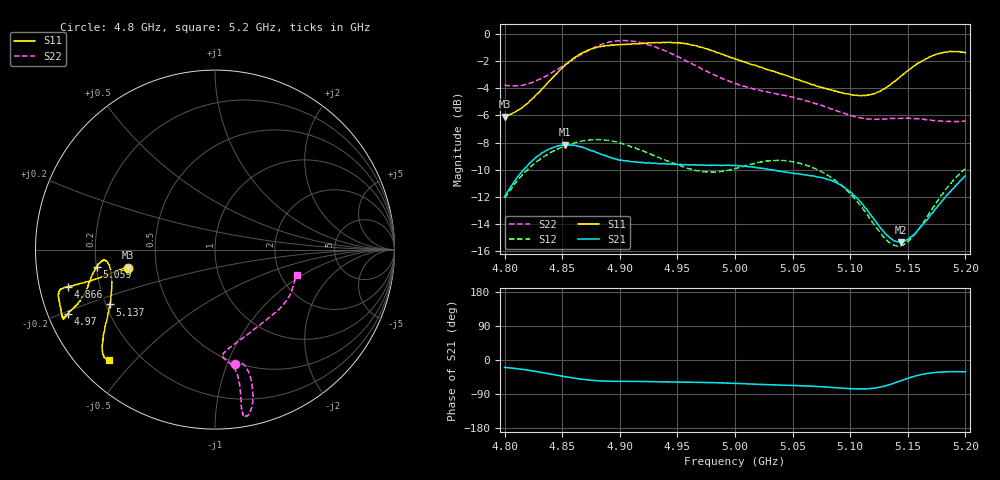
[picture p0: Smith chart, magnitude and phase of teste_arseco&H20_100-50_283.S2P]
! Network Analyzer HP8722D
! Hewlett-Packard
! Data name: Linha & Wilkinson
! Saver's name: Rodrigo Anjos
! Comments: Teste da utilização de aquisição
! continua pelo VNA HP8722D
! Time and date: 6/5/2025 14:55
!  Frequency  S11  S21  S12  S22
# HZ  S  MA R 50
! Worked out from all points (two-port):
!   401 points, 4.8 GHz to 5.2 GHz, reference 50 ohm
!   highest |S21| = -8.17 dB at 4.852 GHz (marker M1); lowest = -15.3 dB at 5.144 GHz (marker M2)
!   |S21| within 3 dB of the highest: 4.806 GHz to 5.093 GHz (286.6 MHz wide, 5.79 % of centre); 5.19168 GHz to end of sweep
!   lowest |S11| = -6.1 dB at 4.8 GHz (marker M3), VSWR 2.97, Z = 17 - j4.58 ohm
!   |S11| at or under -10 dB: nowhere
!   |S22| runs from -6.5 to -0.5 dB; largest |S21 - S12| = 0.62
!   S11 on the Smith chart (normalised r, x): 4.8 GHz: 0.34, -0.09; 4.866 GHz: 0.09, -0.12; 4.97 GHz: 0.06, -0.21; 5.059 GHz: 0.20, -0.07; 5.137 GHz: 0.22, -0.23; 5.2 GHz: 0.09, -0.42
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4.8e9  0.4965 -168.2  0.2517 -19.6  0.2487 -140.8  0.6485 -80.3
4.823e9  0.5704 -167.5  0.338 -28.0  0.3252 -143.7  0.6599 -76.0
4.852e9  0.7635 -165.9  0.3906 -43.9  0.3864 -149.4  0.7689 -74.6
4.866e9  0.8443 -165.9  0.3835 -50.4  0.4023 -151.9  0.837 -75.3
4.867e9  0.8496 -165.9  0.3839 -50.7  0.4033 -152.0  0.8421 -75.4
4.883e9  0.8951 -165.1  0.3618 -55.0  0.4081 -154.7  0.9104 -77.2
4.9e9  0.9125 -162.7  0.3431 -56.3  0.3965 -156.6  0.9435 -79.1
4.934e9  0.9286 -156.3  0.3331 -57.5  0.3512 -155.7  0.8832 -80.5
4.97e9  0.8934 -156.4  0.3293 -59.1  0.3125 -147.0  0.7477 -79.6
5e9  0.8091 -159.0  0.3277 -61.8  0.3196 -137.2  0.656 -81.3
5.035e9  0.7243 -165.3  0.3145 -66.0  0.3418 -134.3  0.6032 -85.6
5.059e9  0.6665 -171.5  0.304 -68.2  0.3312 -136.1  0.5709 -84.4
5.067e9  0.6501 -173.0  0.3005 -69.1  0.3227 -136.8  0.5587 -82.7
5.087e9  0.617 -174.5  0.2844 -73.0  0.289 -138.5  0.5245 -74.8
5.102e9  0.5954 -171.8  0.2579 -75.9  0.2528 -138.6  0.498 -65.8
5.116e9  0.5952 -165.5  0.2208 -75.8  0.2127 -135.5  0.4858 -55.8
5.134e9  0.6452 -154.2  0.1782 -65.3  0.1708 -120.8  0.4868 -43.3
5.137e9  0.6614 -152.5  0.1743 -62.3  0.1677 -116.9  0.4888 -41.5
5.144e9  0.6985 -148.7  0.1715 -54.6  0.166 -107.6  0.4883 -37.4
5.156e9  0.7643 -143.6  0.1838 -42.7  0.183 -93.0  0.4875 -31.5
5.174e9  0.839 -138.4  0.2266 -32.9  0.2366 -80.3  0.4795 -23.8
5.2e9  0.8519 -133.6  0.3003 -31.4  0.3188 -76.9  0.478 -17.6
